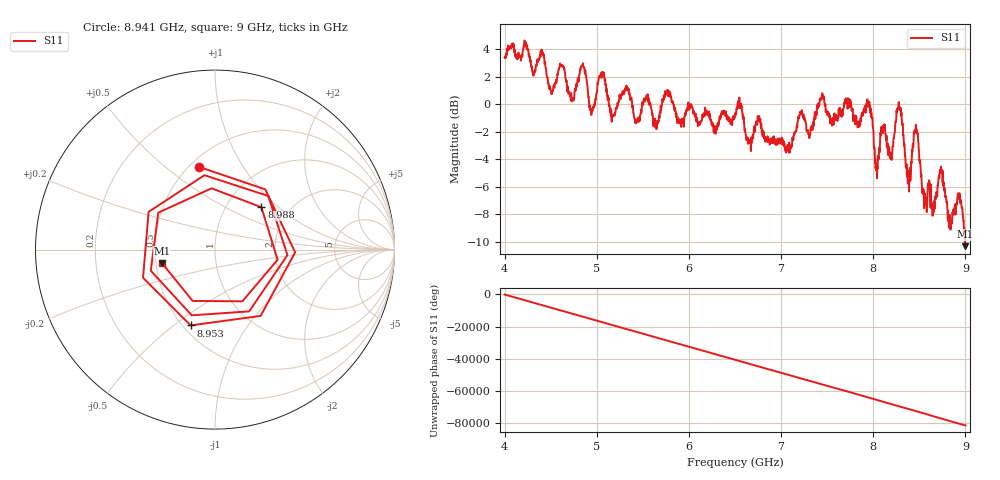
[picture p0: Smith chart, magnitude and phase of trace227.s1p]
! Created with skrf 1.8.0 (http://scikit-rf.org).
# Hz S RI R 50.0
!freq ReS11 ImS11
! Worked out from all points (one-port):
!   1601 points, 4 GHz to 9 GHz, reference 50 ohm
!   lowest |S11| = -10.3 dB at 9 GHz (marker M1), VSWR 1.88, Z = 27 - j4.53 ohm
!   |S11| at or under -10 dB: 8.996065 GHz to end of sweep
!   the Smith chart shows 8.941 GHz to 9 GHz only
!   S11 on the Smith chart (normalised r, x): 8.941 GHz: 0.56, +0.66; 8.953 GHz: 0.55, -0.58; 8.988 GHz: 1.45, +0.78; 9 GHz: 0.54, -0.09
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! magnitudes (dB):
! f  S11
! 4 GHz  3.4
! 4.406 GHz  3.9
! 4.506 GHz  0.8
! 4.625 GHz  2.9
! 4.731 GHz  0.2
! 4.853 GHz  2.8
! 4.944 GHz  -0.6
! 5.053 GHz  1.9
! 5.166 GHz  -0.7
! 5.25 GHz  0.5
! 5.875 GHz  -0.9
! 6.5 GHz  -0.9
! 7.125 GHz  -2.4
! 7.75 GHz  -0.1
! 7.956 GHz  0.1
! 8.044 GHz  -4.5
! 8.103 GHz  -2.1
! 8.191 GHz  -3.9
! 8.281 GHz  -0.3
! 8.375 GHz  -5.8
! 8.466 GHz  -1.9
! 8.559 GHz  -6.5
! 8.731 GHz  -5.0
! 8.831 GHz  -8.5
! 8.941 GHz  -6.6
! 8.953 GHz  -7.1
! 8.988 GHz  -9.1
! 9 GHz  -10.3
